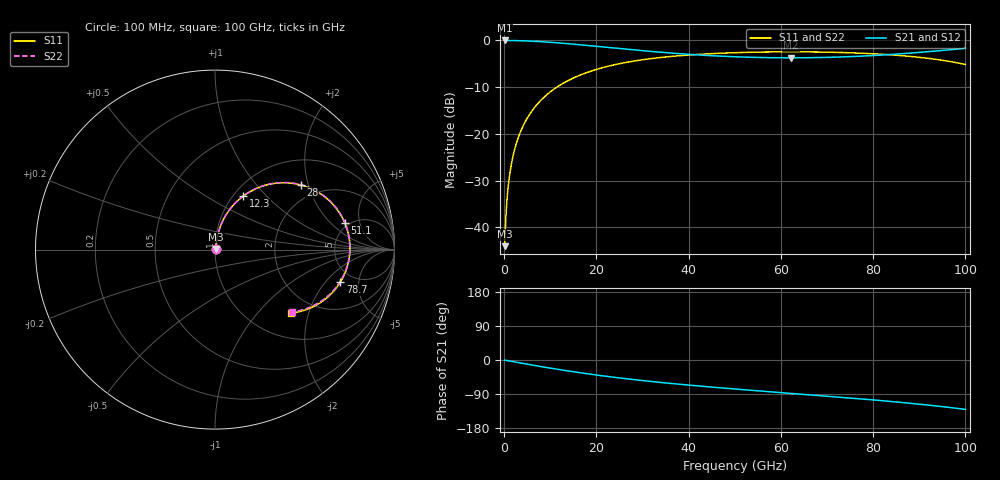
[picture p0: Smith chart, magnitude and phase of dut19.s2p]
! Touchstone file exported from HFSS 2026.1.0
!  File:  C:/ffzhzh/LocalFiles/Ansys_Project_Files/temp_train_RDL_19_1783497776_9504.aedt
!  Generated:  04:04:11 PM Jul  8, 2026
!  Design:  RDL
!  Project:  temp_train_RDL_19_1783497776_9504
! Variables:
!  h_bsmrdl = 2um
!  h_ox = 20um
!  h_rdl = 5um
!  h_sub = 80um
!  h_tmrdl = 2.67um
!  h_tsv = 80um
!  h_via = 3um
!  l_bsmrdl = 300um
!  l_sub = 860.11um
!  l_tmrdl = 460.11um
!  m_sub = 200um
!  pitch = 55.91um
!  r_tsv = 6um
!  s_tmrdl = 10um
!  w_bsmrdl = 18um
!  w_sub = 500um
!  w_tmrdl = 11.29um
!  x_tsv_center1 = 465.755um
!  x_tsv_center2 = 783.755um
!  x_tsv_center3 = 1255.155um
!  x_tsv_center4 = 1573.155um
!  x_tsv_center5 = 2044.555um
!  x_tsv_center6 = 2362.555um
# GHz S MA R 50.000000
! Terminal data exported
! Port[1] = TM_RDL1_1_T1
! Port[2] = TM_RDL1_1_T2
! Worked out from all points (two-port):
!   1000 points, 100 MHz to 100 GHz, reference 50 ohm
!   highest |S21| = -0.05 dB at 100 MHz (marker M1); lowest = -3.8 dB at 62.2 GHz (marker M2)
!   |S21| within 3 dB of the highest: start of sweep to 40.51 GHz; 83.83 GHz to end of sweep
!   lowest |S11| = -44.0 dB at 100 MHz (marker M3), VSWR 1.01, Z = 50.6 + j0.31 ohm
!   |S11| at or under -10 dB: start of sweep to 11.48 GHz
!   |S22| runs from -44.0 to -2.5 dB; largest |S21 - S12| = 2.6e-14
!   S11 on the Smith chart (normalised r, x): 100 MHz: 1.01, +0.01; 12.3 GHz: 1.11, +0.74; 28 GHz: 1.59, +1.78; 51.1 GHz: 4.65, +3.00; 78.7 GHz: 3.89, -2.93; 100 GHz: 1.52, -1.54
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0.1  0.006284 29.2  0.9945 -0.2  0.9945 -0.2  0.006284 29.2
! Gamma 0 0 0 0
! Port Impedance 50 0 50 0
0.9  0.02793 75.6  0.9936 -2.0  0.9936 -2.0  0.02793 75.6
1.3  0.03961 78.1  0.993 -2.9  0.993 -2.9  0.03961 78.1
2.1  0.06302 79.4  0.9916 -4.7  0.9916 -4.7  0.06302 79.5
3.3  0.09801 78.7  0.9884 -7.3  0.9884 -7.3  0.098 78.7
4.9  0.1439 76.3  0.9823 -10.8  0.9823 -10.8  0.1439 76.3
6.9  0.1995 72.6  0.9719 -15.0  0.9719 -15.0  0.1995 72.7
9.4  0.2652 67.8  0.9552 -20.2  0.9552 -20.2  0.2652 67.9
12.3  0.3354 62.3  0.932 -25.9  0.932 -25.9  0.3354 62.4
16.8  0.4303 54.2  0.8912 -34.2  0.8912 -34.2  0.4303 54.4
22.1  0.5207 45.6  0.8413 -42.9  0.8413 -42.9  0.5207 45.8
28  0.5974 37.1  0.7892 -51.6  0.7892 -51.6  0.5974 37.4
33.4  0.6496 30.2  0.7477 -58.6  0.7477 -58.6  0.6495 30.5
41.5  0.7031 21.0  0.699 -67.9  0.699 -67.9  0.7031 21.4
50.1  0.7361 12.4  0.6655 -76.6  0.6655 -76.6  0.736 12.9
51.1  0.7386 11.4  0.6628 -77.6  0.6628 -77.6  0.7386 11.9
62.2  0.7519 1.2  0.6486 -88.0  0.6486 -88.0  0.7518 1.7
66.7  0.7498 -3.0  0.651 -92.2  0.651 -92.2  0.7498 -2.4
78.7  0.722 -14.5  0.6807 -103.9  0.6807 -103.9  0.722 -13.7
83.4  0.7005 -19.4  0.7019 -108.9  0.7019 -108.9  0.7005 -18.6
91.5  0.6443 -28.7  0.7513 -118.5  0.7513 -118.5  0.6443 -27.8
100  0.5508 -40.0  0.8187 -130.2  0.8187 -130.2  0.5509 -39.1
